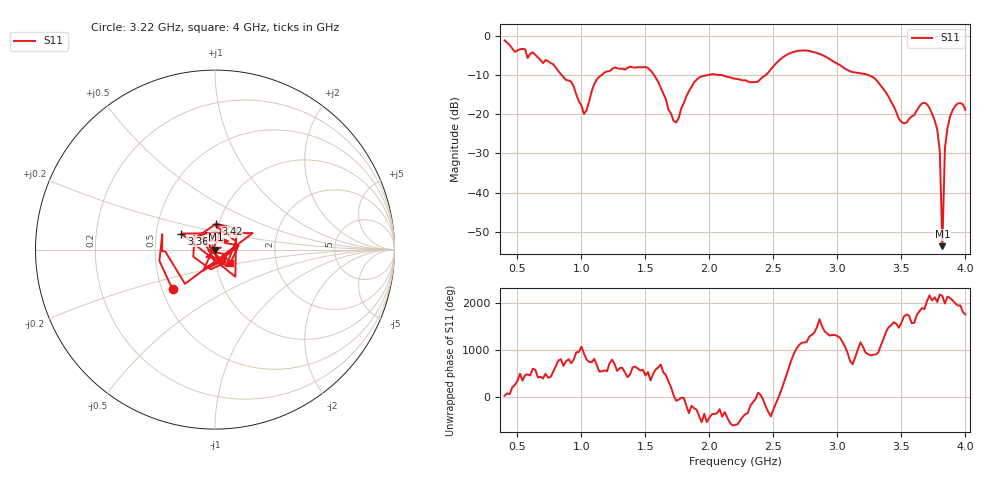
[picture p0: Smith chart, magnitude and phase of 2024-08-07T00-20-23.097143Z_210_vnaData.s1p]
!Created with skrf (http://scikit-rf.org).
# Hz S RI R 50.0
!freq ReS11 ImS11
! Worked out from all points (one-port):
!   181 points, 400 MHz to 4 GHz, reference 50 ohm
!   lowest |S11| = -53.7 dB at 3.82 GHz (marker M1), VSWR 1.00, Z = 50.2 - j0.0368 ohm
!   |S11| at or under -10 dB: 1.567 GHz to 1.99 GHz (423.1 MHz wide, 23.8 % of centre); 2.079 GHz to 2.44 GHz (361.6 MHz wide, 16 % of centre); 3.239 GHz to end of sweep (the widest 3 of 4)
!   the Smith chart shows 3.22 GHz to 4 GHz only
!   S11 on the Smith chart (normalised r, x): 3.22 GHz: 0.57, -0.28; 3.36 GHz: 0.67, +0.13; 3.42 GHz: 0.97, +0.28; 4 GHz: 1.17, -0.18
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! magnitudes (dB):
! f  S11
! 400 MHz  -1.2
! 860 MHz  -10.5
! 920 MHz  -11.7
! 1.02 GHz  -20.0
! 1.12 GHz  -11.1
! 1.3 GHz  -8.5
! 1.52 GHz  -8.2
! 1.6 GHz  -11.8
! 1.72 GHz  -21.7
! 1.76 GHz  -21.0
! 1.92 GHz  -10.7
! 2.2 GHz  -11.0
! 2.38 GHz  -11.7
! 2.66 GHz  -4.1
! 3.1 GHz  -9.1
! 3.22 GHz  -9.8
! 3.36 GHz  -13.6
! 3.42 GHz  -16.9
! 3.5 GHz  -21.9
! 3.56 GHz  -21.2
! 3.68 GHz  -17.1
! 3.78 GHz  -24.0
! 3.8 GHz  -29.4
! 3.82 GHz  -53.7
! 3.84 GHz  -28.7
! 3.86 GHz  -23.6
! 3.92 GHz  -17.9
! 4 GHz  -18.9
